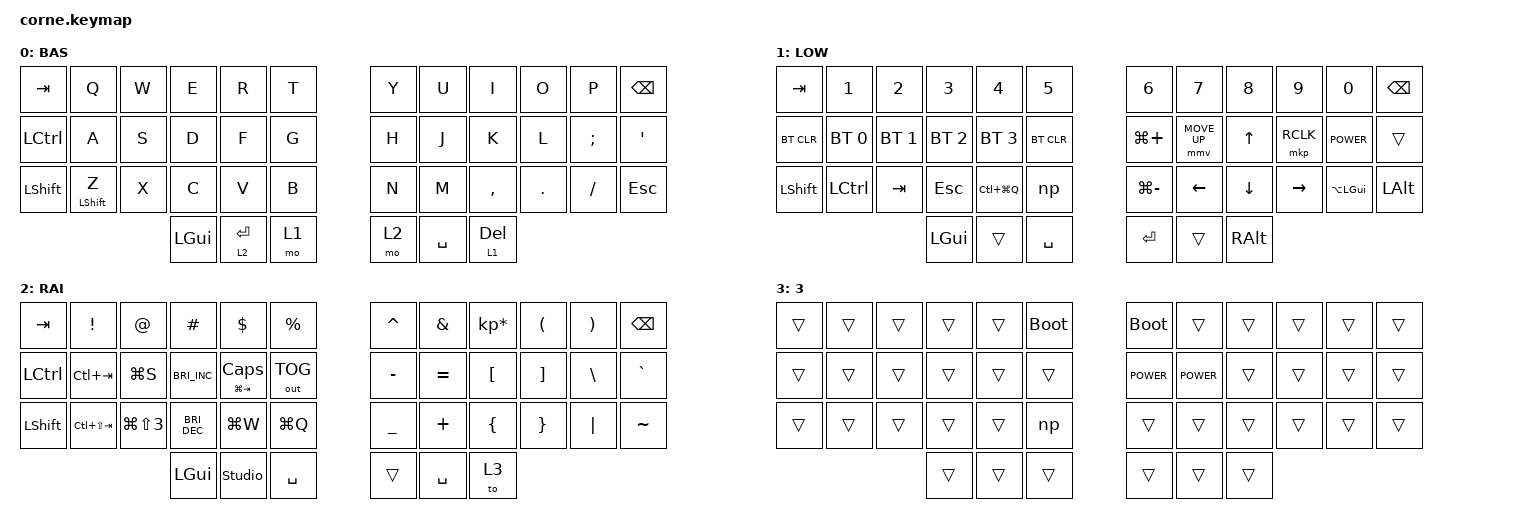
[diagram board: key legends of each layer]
/*
 * Copyright (c) 2020 The ZMK Contributors
 *
 * SPDX-License-Identifier: MIT
 */

#include <dt-bindings/led/led.h>
#include <dt-bindings/zmk/reset.h>
#include <behaviors.dtsi>
#include <dt-bindings/zmk/bt.h>
#include <dt-bindings/zmk/keys.h>
#include <dt-bindings/zmk/outputs.h>
#include <dt-bindings/zmk/pointing.h>

&led_strip { chain-length = <27>; };

/ {
    combos {
        compatible = "zmk,combos";

        tf1 {
            bindings = <&tog 1>;
            key-positions = <40 39>;
        };

        tf2 {
            bindings = <&tog 2>;
            key-positions = <41 40>;
        };

        tf3 {
            bindings = <&tog 3>;
            key-positions = <6 7>;
        };
    };

    macros {
        np: np {
            compatible = "zmk,behavior-macro";
            #binding-cells = <0>;
            bindings = <&kp N &kp I &kp C &kp O &kp H &kp U &kp L &kp K &kp RET>;
            label = "NP";
        };
    };

    keymap {
        compatible = "zmk,keymap";

        default_layer {
            display-name = "BAS";

            // -----------------------------------------------------------------------------------------
            // |  TAB |  Q  |  W  |  E  |  R  |  T  |   |  Y  |  U   |  I  |  O  |  P  | BKSP |
            // | CTRL |  A  |  S  |  D  |  F  |  G  |   |  H  |  J   |  K  |  L  |  ;  |  '   |
            // | SHFT |  Z  |  X  |  C  |  V  |  B  |   |  N  |  M   |  ,  |  .  |  /  | ESC  |
            //                    | GUI | LWR | SPC |   | ENT | RSE  | ALT |

            bindings = <
&kp TAB    &kp Q             &kp W  &kp E     &kp R         &kp T    &kp Y  &kp U      &kp I         &kp O    &kp P     &kp BSPC
&kp LCTRL  &kp A             &kp S  &kp D     &kp F         &kp G    &kp H  &kp J      &kp K         &kp L    &kp SEMI  &kp SQT
&kp LSHFT  &mt LEFT_SHIFT Z  &kp X  &kp C     &kp V         &kp B    &kp N  &kp M      &kp COMMA     &kp DOT  &kp FSLH  &kp ESC
                                    &kp LGUI  &lt 2 RETURN  &mo 1    &mo 2  &kp SPACE  &lt 1 DELETE
            >;
        };

        lower_layer {
            display-name = "LOW";

            // -----------------------------------------------------------------------------------------
            // |  TAB |  1  |  2  |  3  |  4  |  5  |   |  6  |  7  |  8  |  9  |  0  | BKSP |
            // | BTCLR| BT1 | BT2 | BT3 | BT4 | BT5 |   | LFT | DWN |  UP | RGT |     |      |
            // | SHFT |     |     |     |     |     |   |     |     |     |     |     |      |
            //                    | GUI |     | SPC |   | ENT |     | ALT |

            bindings = <
&kp TAB     &kp N1        &kp N2        &kp N3        &kp N4         &kp N5        &kp N6         &kp N7        &kp N8    &kp N9     &kp N0        &kp BSPC
&bt BT_CLR  &bt BT_SEL 0  &bt BT_SEL 1  &bt BT_SEL 2  &bt BT_SEL 3   &bt BT_CLR    &kp LG(PLUS)   &mmv MOVE_UP  &kp UP    &mkp RCLK  &kp K_POWER   &trans
&kp LSHFT   &kp LCTRL     &kp TAB       &kp ESC       &kp LC(LG(Q))  &np           &kp LG(MINUS)  &kp LEFT      &kp DOWN  &kp RIGHT  &kp LA(LGUI)  &kp LALT
                                        &kp LGUI      &trans         &kp SPACE     &kp RET        &trans        &kp RALT
            >;
        };

        raise_layer {
            display-name = "RAI";

            // -----------------------------------------------------------------------------------------
            // |  TAB |  !  |  @  |  #  |  $  |  %  |   |  ^  |  &  |  *  |  (  |  )  | BKSP |
            // | CTRL |     |     |     |     |     |   |  -  |  =  |  [  |  ]  |  \  |  `   |
            // | SHFT |     |     |     |     |     |   |  _  |  +  |  {  |  }  | "|" |  ~   |
            //                    | GUI |     | SPC |   | ENT |     | ALT |

            bindings = <
&kp TAB    &kp EXCL         &kp AT                &kp HASH              &kp DLLR          &kp PRCNT       &kp CARET  &kp AMPS   &kp KP_MULTIPLY  &kp LPAR  &kp RPAR  &kp BSPC
&kp LCTRL  &kp LC(TAB)      &kp LG(S)             &kp C_BRIGHTNESS_INC  &mt LG(TAB) CLCK  &out OUT_TOG    &kp MINUS  &kp EQUAL  &kp LBKT         &kp RBKT  &kp BSLH  &kp GRAVE
&kp LSHFT  &kp LC(LS(TAB))  &kp LG(LS(NUMBER_3))  &kp C_BRIGHTNESS_DEC  &kp LG(W)         &kp LG(Q)       &kp UNDER  &kp PLUS   &kp LBRC         &kp RBRC  &kp PIPE  &kp TILDE
                                                  &kp LGUI              &studio_unlock    &kp SPACE       &trans     &kp SPACE  &to 3
            >;
        };

        layer_3 {
            display-name = "3";
            bindings = <
&trans  &trans  &trans  &trans  &trans  &bootloader    &bootloader  &trans       &trans  &trans  &trans  &trans
&trans  &trans  &trans  &trans  &trans  &trans         &kp K_POWER  &kp C_POWER  &trans  &trans  &trans  &trans
&trans  &trans  &trans  &trans  &trans  &np            &trans       &trans       &trans  &trans  &trans  &trans
                        &trans  &trans  &trans         &trans       &trans       &trans
            >;
        };
    };

    conditional_layers {
        compatible = "zmk,conditional-layers";

        if3 {
            if-layers = <2 1>;
            then-layer = <3>;
        };
    };
};
